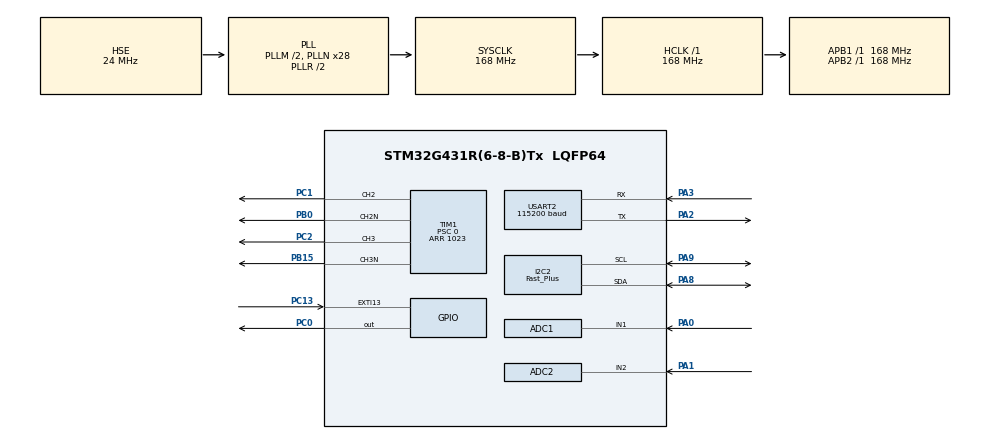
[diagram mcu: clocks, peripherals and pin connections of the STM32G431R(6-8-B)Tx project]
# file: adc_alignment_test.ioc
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ADC1.Channel-0\#ChannelRegularConversion=ADC_CHANNEL_1
ADC1.ClockPrescaler=ADC_CLOCK_SYNC_PCLK_DIV4
ADC1.ContinuousConvMode=DISABLE
ADC1.DMAContinuousRequests=ENABLE
ADC1.DataAlign=ADC_DATAALIGN_RIGHT
ADC1.DiscontinuousConvMode=DISABLE
ADC1.EOCSelection=ADC_EOC_SINGLE_CONV
ADC1.EnableAnalogWatchDog1=false
ADC1.EnableAnalogWatchDog2=false
ADC1.EnableAnalogWatchDog3=false
ADC1.EnableInjectedConversion=DISABLE
ADC1.EnableInjectedOversampling=DISABLE
ADC1.EnableRegularConversion=ENABLE
ADC1.ExternalTrigConv=ADC_EXTERNALTRIG_T1_TRGO
ADC1.ExternalTrigConvEdge=ADC_EXTERNALTRIGCONVEDGE_RISING
ADC1.GainCompensation=0
ADC1.LowPowerAutoWait=DISABLE
ADC1.Mode=ADC_MODE_INDEPENDENT
ADC1.NbrOfConversion=1
ADC1.OffsetNumber-0\#ChannelRegularConversion=ADC_OFFSET_NONE
ADC1.Overrun=ADC_OVR_DATA_PRESERVED
ADC1.OversamplingMode=DISABLE
ADC1.Rank-0\#ChannelRegularConversion=1
ADC1.Resolution=ADC_RESOLUTION_12B
ADC1.SamplingTime-0\#ChannelRegularConversion=ADC_SAMPLETIME_12CYCLES_5
ADC1.ScanConvMode=ADC_SCAN_DISABLE
ADC1.master=1
ADC2.Channel-0\#ChannelRegularConversion=ADC_CHANNEL_2
ADC2.DMAContinuousRequests=ENABLE
ADC2.ExternalTrigConv=ADC_EXTERNALTRIG_T1_TRGO
ADC2.NbrOfConversionFlag=1
ADC2.OffsetNumber-0\#ChannelRegularConversion=ADC_OFFSET_NONE
ADC2.Rank-0\#ChannelRegularConversion=1
ADC2.SamplingTime-0\#ChannelRegularConversion=ADC_SAMPLETIME_12CYCLES_5
Dma.ADC1.0.Direction=DMA_PERIPH_TO_MEMORY
Dma.ADC1.0.EventEnable=DISABLE
Dma.ADC1.0.Instance=DMA1_Channel2
Dma.ADC1.0.MemDataAlignment=DMA_MDATAALIGN_HALFWORD
Dma.ADC1.0.MemInc=DMA_MINC_ENABLE
Dma.ADC1.0.Mode=DMA_CIRCULAR
Dma.ADC1.0.PeriphDataAlignment=DMA_PDATAALIGN_HALFWORD
Dma.ADC1.0.PeriphInc=DMA_PINC_DISABLE
Dma.ADC1.0.Polarity=HAL_DMAMUX_REQ_GEN_RISING
Dma.ADC1.0.Priority=DMA_PRIORITY_LOW
Dma.ADC1.0.RequestNumber=1
Dma.ADC1.0.SignalID=NONE
Dma.ADC1.0.SyncEnable=DISABLE
Dma.ADC1.0.SyncPolarity=HAL_DMAMUX_SYNC_NO_EVENT
Dma.ADC1.0.SyncRequestNumber=1
Dma.ADC1.0.SyncSignalID=NONE
Dma.ADC2.1.Direction=DMA_PERIPH_TO_MEMORY
Dma.ADC2.1.EventEnable=DISABLE
Dma.ADC2.1.Instance=DMA1_Channel1
Dma.ADC2.1.MemDataAlignment=DMA_MDATAALIGN_HALFWORD
Dma.ADC2.1.MemInc=DMA_MINC_ENABLE
Dma.ADC2.1.Mode=DMA_CIRCULAR
Dma.ADC2.1.PeriphDataAlignment=DMA_PDATAALIGN_HALFWORD
Dma.ADC2.1.PeriphInc=DMA_PINC_DISABLE
Dma.ADC2.1.Polarity=HAL_DMAMUX_REQ_GEN_RISING
Dma.ADC2.1.Priority=DMA_PRIORITY_LOW
Dma.ADC2.1.RequestNumber=1
Dma.ADC2.1.SignalID=NONE
Dma.ADC2.1.SyncEnable=DISABLE
Dma.ADC2.1.SyncPolarity=HAL_DMAMUX_SYNC_NO_EVENT
Dma.ADC2.1.SyncRequestNumber=1
Dma.ADC2.1.SyncSignalID=NONE
Dma.Request0=ADC1
Dma.Request1=ADC2
I2C2.I2C_Speed_Mode=I2C_Fast_Plus
I2C2.Timing=0x10C31027
Mcu.Family=STM32G4
Mcu.Name=STM32G431R(6-8-B)Tx
Mcu.Package=LQFP64
NVIC.ADC1_2_IRQn=true\:0\:0\:false\:false\:true\:true\:true\:true
NVIC.DMA1_Channel1_IRQn=true\:0\:0\:false\:false\:true\:false\:true\:true
NVIC.DMA1_Channel2_IRQn=true\:0\:0\:false\:false\:true\:false\:true\:true
NVIC.EXTI15_10_IRQn=true\:0\:0\:false\:false\:true\:true\:true\:true
NVIC.PriorityGroup=NVIC_PRIORITYGROUP_4
PA0.Mode=IN1-Single-Ended
PA0.Signal=ADC1_IN1
PA1.Mode=IN2-Single-Ended
PA1.Signal=ADC2_IN2
PA13.GPIO_Label=T_SWDIO
PA13.Mode=Serial_Wire
PA13.Signal=SYS_JTMS-SWDIO
PA14.GPIO_Label=T_SWCLK
PA14.Mode=Serial_Wire
PA14.Signal=SYS_JTCK-SWCLK
PA2.Mode=Asynchronous
PA2.Signal=USART2_TX
PA3.Mode=Asynchronous
PA3.Signal=USART2_RX
PA8.Mode=I2C
PA8.Signal=I2C2_SDA
PA9.Mode=I2C
PA9.Signal=I2C2_SCL
PB0.Mode=PWM Generation2 CH2 CH2N
PB0.Signal=TIM1_CH2N
PB15.Mode=PWM Generation3 CH3 CH3N
PB15.Signal=TIM1_CH3N
PC0.Signal=GPIO_Output
PC1.Signal=S_TIM1_CH2
PC13.Signal=GPXTI13
PC2.Signal=S_TIM1_CH3
PF0-OSC_IN.GPIO_Label=RCC_OSC_IN
PF0-OSC_IN.Mode=HSE-External-Oscillator
PF0-OSC_IN.Signal=RCC_OSC_IN
PF1-OSC_OUT.GPIO_Label=RCC_OSC_OUT
PF1-OSC_OUT.Mode=HSE-External-Oscillator
PF1-OSC_OUT.Signal=RCC_OSC_OUT
ProjectManager.HeapSize=0x200
ProjectManager.StackSize=0x400
ProjectManager.TargetToolchain=CMake
RCC.ADC12Freq_Value=168000000
RCC.AHBFreq_Value=168000000
RCC.APB1Freq_Value=168000000
RCC.APB1TimFreq_Value=168000000
RCC.APB2Freq_Value=168000000
RCC.APB2TimFreq_Value=168000000
RCC.CortexFreq_Value=168000000
RCC.EXTERNAL_CLOCK_VALUE=12288000
RCC.FLatency=FLASH_LATENCY_4
RCC.HCLKFreq_Value=168000000
RCC.HSE_VALUE=24000000
RCC.HSI48_VALUE=48000000
RCC.HSI_VALUE=16000000
RCC.LSE_VALUE=32768
RCC.PLLM=RCC_PLLM_DIV2
RCC.PLLN=28
RCC.PLLSourceVirtual=RCC_PLLSOURCE_HSE
RCC.PWR_Regulator_Voltage_Scale=PWR_REGULATOR_VOLTAGE_SCALE1_BOOST
RCC.SYSCLKFreq_VALUE=168000000
RCC.SYSCLKSource=RCC_SYSCLKSOURCE_PLLCLK
RCC.USBFreq_Value=168000000
RCC.VCOOutputFreq_Value=336000000
SH.S_TIM1_CH2.0=TIM1_CH2,PWM Generation2 CH2 CH2N
SH.S_TIM1_CH3.0=TIM1_CH3,PWM Generation3 CH3 CH3N
TIM1.AsymmetricalDeadTime=DISABLE
TIM1.AutoReloadPreload=TIM_AUTORELOAD_PRELOAD_ENABLE
TIM1.AutomaticOutput=TIM_AUTOMATICOUTPUT_DISABLE
TIM1.Break2Filter=0
TIM1.Break2Polarity=TIM_BREAK2POLARITY_HIGH
TIM1.Break2State=TIM_BREAK2_DISABLE
TIM1.BreakFilter=0
TIM1.BreakPolarity=TIM_BREAKPOLARITY_HIGH
TIM1.BreakState=TIM_BREAK_DISABLE
TIM1.Channel-PWM\ Generation2\ CH2\ CH2N=TIM_CHANNEL_2
TIM1.Channel-PWM\ Generation3\ CH3\ CH3N=TIM_CHANNEL_3
TIM1.ClearInputSource=TIM_CLEARINPUTSOURCE_NONE
TIM1.ClockDivision=TIM_CLOCKDIVISION_DIV1
TIM1.CounterMode=TIM_COUNTERMODE_CENTERALIGNED1
TIM1.DeadTime=0
TIM1.DeadTimePreload=DISABLE
TIM1.Dithering=Disable
TIM1.LockLevel=TIM_LOCKLEVEL_OFF
TIM1.OC2Preload_PWM=ENABLE
TIM1.OC3Preload_PWM=ENABLE
TIM1.OCFastMode_PWM-PWM\ Generation2\ CH2\ CH2N=TIM_OCFAST_DISABLE
TIM1.OCFastMode_PWM-PWM\ Generation3\ CH3\ CH3N=TIM_OCFAST_DISABLE
TIM1.OCIdleState_2=TIM_OCIDLESTATE_RESET
TIM1.OCIdleState_3=TIM_OCIDLESTATE_RESET
TIM1.OCMode_PWM-PWM\ Generation2\ CH2\ CH2N=TIM_OCMODE_PWM1
TIM1.OCMode_PWM-PWM\ Generation3\ CH3\ CH3N=TIM_OCMODE_PWM1
TIM1.OCNIdleState_2=TIM_OCNIDLESTATE_RESET
TIM1.OCNIdleState_3=TIM_OCNIDLESTATE_RESET
TIM1.OCNPolarity_2=TIM_OCNPOLARITY_HIGH
TIM1.OCNPolarity_3=TIM_OCNPOLARITY_HIGH
TIM1.OCPolarity_2=TIM_OCPOLARITY_HIGH
TIM1.OCPolarity_3=TIM_OCPOLARITY_HIGH
TIM1.OffStateIDLEMode=TIM_OSSI_DISABLE
TIM1.OffStateRunMode=TIM_OSSR_DISABLE
TIM1.PeriodNoDither=1023
TIM1.Prescaler=0
TIM1.PulseNoDither_2=0
TIM1.PulseNoDither_3=0
TIM1.RepetitionCounter=15
TIM1.SourceBRK2COMP1=TIM_BREAKINPUTSOURCE_DISABLE
TIM1.SourceBRK2COMP2=TIM_BREAKINPUTSOURCE_DISABLE
TIM1.SourceBRK2COMP3=TIM_BREAKINPUTSOURCE_DISABLE
TIM1.SourceBRK2COMP4=TIM_BREAKINPUTSOURCE_DISABLE
TIM1.SourceBRK2DigInput=TIM_BREAKINPUTSOURCE_DISABLE
TIM1.SourceBRKCOMP1=TIM_BREAKINPUTSOURCE_DISABLE
TIM1.SourceBRKCOMP2=TIM_BREAKINPUTSOURCE_DISABLE
TIM1.SourceBRKCOMP3=TIM_BREAKINPUTSOURCE_DISABLE
TIM1.SourceBRKCOMP4=TIM_BREAKINPUTSOURCE_DISABLE
TIM1.SourceBRKDigInput=TIM_BREAKINPUTSOURCE_DISABLE
TIM1.TIM_MasterOutputTrigger=TIM_TRGO_UPDATE
TIM1.TIM_MasterOutputTrigger2=TIM_TRGO2_RESET
TIM1.TIM_MasterSlaveMode=TIM_MASTERSLAVEMODE_DISABLE
USART2.AutoBaudRateEnableParam=UART_ADVFEATURE_AUTOBAUDRATE_DISABLE
USART2.BaudRate=115200
USART2.ClockPrescaler=PRESCALER_DIV1
USART2.DMADisableonRxErrorParam=ADVFEATURE_DMA_ENABLEONRXERROR
USART2.DataInvertParam=ADVFEATURE_DATAINV_DISABLE
USART2.FIFOMode=FIFOMODE_DISABLE
USART2.MSBFirstParam=ADVFEATURE_MSBFIRST_DISABLE
USART2.Mode=MODE_TX_RX
USART2.OneBitSampling=UART_ONE_BIT_SAMPLE_DISABLE
USART2.OverSampling=UART_OVERSAMPLING_16
USART2.OverrunDisableParam=ADVFEATURE_OVERRUN_ENABLE
USART2.Parity=PARITY_NONE
USART2.RXFIFOThreshold=RXFIFO_THRESHOLD_1EIGHTHFULL
USART2.RxPinLevelInvertParam=ADVFEATURE_RXINV_DISABLE
USART2.StopBits=STOPBITS_1
USART2.SwapParam=ADVFEATURE_SWAP_DISABLE
USART2.TXFIFOThreshold=TXFIFO_THRESHOLD_1EIGHTHFULL
USART2.TxPinLevelInvertParam=ADVFEATURE_TXINV_DISABLE
USART2.VirtualMode-Asynchronous=VM_ASYNC
USART2.WordLength=WORDLENGTH_8B
VP_CORDIC_VS_CORDIC.Mode=CORDIC_Activate
VP_SYS_VS_DBSignals.Mode=DisableDeadBatterySignals
VP_TIM1_VS_ClockSourceINT.Mode=Internal
board=NUCLEO-G431RB

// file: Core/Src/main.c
/* USER CODE BEGIN Header */
/**
  ******************************************************************************
  * @file           : main.c
  * @brief          : Main program body
  ******************************************************************************
  * @attention
  *
  * Copyright (c) 2026 STMicroelectronics.
  * All rights reserved.
  *
  * This software is licensed under terms that can be found in the LICENSE file
  * in the root directory of this software component.
  * If no LICENSE file comes with this software, it is provided AS-IS.
  *
  ******************************************************************************
  */
/* USER CODE END Header */
#include "main.h"

/* USER CODE BEGIN Includes */
#include "stm32-cordic.h"
#include "stm32g4xx_hal.h"
#include "stm32g4xx_hal_adc.h"
#include "stm32g4xx_hal_gpio.h"
#include "stm32g4xx_hal_tim.h"
#include "stm32g4xx_hal_uart.h"
#include <stdint.h>
#include <stdbool.h>
#include <stdio.h>

#include "as5600.h"
/* USER CODE END Includes */

/* USER CODE BEGIN PD */
#define LOG_SIZE 1024
#define OUTPUT_BUFLEN 32
/* USER CODE END PD */

ADC_HandleTypeDef hadc1;
ADC_HandleTypeDef hadc2;
DMA_HandleTypeDef hdma_adc1;
DMA_HandleTypeDef hdma_adc2;

CORDIC_HandleTypeDef hcordic;

I2C_HandleTypeDef hi2c2;

TIM_HandleTypeDef htim1;

UART_HandleTypeDef huart2;

/* USER CODE BEGIN PV */
volatile bool test_triggered = false;
volatile bool next_step = false;
uint16_t adc_log_x[LOG_SIZE];
uint16_t adc_log_y[LOG_SIZE];
uint16_t duty_log_x[LOG_SIZE];
uint16_t duty_log_y[LOG_SIZE];
int16_t sin_log[LOG_SIZE];
int16_t cos_log[LOG_SIZE];
int16_t theta_log[LOG_SIZE];

uint8_t output_buffer[OUTPUT_BUFLEN];
int output_length;
/* USER CODE END PV */

void SystemClock_Config(void);
static void MX_GPIO_Init(void);
static void MX_DMA_Init(void);
static void MX_USART2_UART_Init(void);
static void MX_CORDIC_Init(void);
static void MX_TIM1_Init(void);
static void MX_ADC1_Init(void);
static void MX_ADC2_Init(void);
static void MX_I2C2_Init(void);

int main(void)
{

  /* MCU Configuration--------------------------------------------------------*/

  /* Reset of all peripherals, Initializes the Flash interface and the Systick. */
  HAL_Init();

  /* Configure the system clock */
  SystemClock_Config();

  /* Initialize all configured peripherals */
  MX_GPIO_Init();
  MX_DMA_Init();
  MX_USART2_UART_Init();
  MX_CORDIC_Init();
  MX_TIM1_Init();
  MX_ADC1_Init();
  MX_ADC2_Init();
  MX_I2C2_Init();
  /* USER CODE BEGIN 2 */
  HAL_ADCEx_Calibration_Start(&hadc1, ADC_SINGLE_ENDED);
  HAL_ADCEx_Calibration_Start(&hadc2, ADC_SINGLE_ENDED);
  /* USER CODE END 2 */

  /* Infinite loop */
  /* USER CODE BEGIN WHILE */
  while (1)
  {
    HAL_GPIO_WritePin(GPIOC, GPIO_PIN_0, GPIO_PIN_RESET);
    /* USER CODE END WHILE */

    /* USER CODE BEGIN 3 */
    if(test_triggered) {
      // output_length = snprintf((char*)output_buffer, OUTPUT_BUFLEN, "TEST TRIGGERED\r\n");
      // HAL_UART_Transmit(&huart2, output_buffer, output_length, 100);
      TIM1->CNT = 0;
      TIM1->BDTR &= ~(TIM_BDTR_DTG);

      // Start ADC and DMA
      uint32_t dma_dest[2];
      HAL_ADC_Start_DMA(&hadc1, &dma_dest[0], 1);
      __HAL_ADC_ENABLE_IT(&hadc1, ADC_IT_EOC);
      HAL_ADC_Start_DMA(&hadc2, &dma_dest[1], 1);
      __HAL_ADC_ENABLE_IT(&hadc2, ADC_IT_EOC);

      // Start TIMER
      __HAL_TIM_CLEAR_FLAG(&htim1, TIM_FLAG_UPDATE);
      HAL_TIM_PWM_Start(&htim1, TIM_CHANNEL_2);
      HAL_TIMEx_PWMN_Start(&htim1, TIM_CHANNEL_2);
      // __HAL_TIM_SET_COMPARE(&htim1, TIM_CHANNEL_2, 512);
      HAL_TIM_PWM_Start(&htim1, TIM_CHANNEL_3);
      HAL_TIMEx_PWMN_Start(&htim1, TIM_CHANNEL_3);
      // __HAL_TIM_SET_COMPARE(&htim1, TIM_CHANNEL_3, 512);

      HAL_GPIO_WritePin(GPIOC, GPIO_PIN_0, GPIO_PIN_SET);

      int32_t theta_q31 = 0x80000000;
      int32_t sine_q31 = 0, cosine_q31 = 0;
      int32_t cordic_results[2];
      uint16_t pwm_level_x = 0, pwm_level_y = 0;
      for(int i = 0 ; i < 1024; i++) {
        while(!next_step);    // spin and wait for adc conversion
        next_step = false;    // clear flag
        // HAL_GPIO_TogglePin(GPIOC, GPIO_PIN_0);

        // save previous pwm duty
        adc_log_x[i] = dma_dest[0] & 0x0fff;
        adc_log_y[i] = dma_dest[1] & 0x0fff;
        duty_log_x[i] = TIM1->CCR2;
        duty_log_y[i] = TIM1->CCR3;
        cos_log[i] = cosine_q31 >> 16;
        sin_log[i] = sine_q31 >> 16;
        theta_log[i] = theta_q31 >> 16;

        // update pwm duty cycle
        cordic_q31_cos_sin(theta_q31, cordic_results);
        cosine_q31 = cordic_results[0];
        sine_q31 = cordic_results[1];
        pwm_level_x = (cosine_q31 >> 23) + 512;
        pwm_level_y = (sine_q31 >> 23) + 512;
        __HAL_TIM_SET_COMPARE(&htim1, TIM_CHANNEL_2, pwm_level_x);
        __HAL_TIM_SET_COMPARE(&htim1, TIM_CHANNEL_3, pwm_level_y);
        HAL_GPIO_TogglePin(GPIOC, GPIO_PIN_0);

        theta_q31 += 0x400000;
      }

      HAL_ADC_Stop_DMA(&hadc1);
      __HAL_ADC_DISABLE_IT(&hadc1, ADC_IT_EOC);
      HAL_ADC_Stop_DMA(&hadc2);
      __HAL_ADC_DISABLE_IT(&hadc2, ADC_IT_EOC);
      HAL_TIM_PWM_Stop(&htim1, TIM_CHANNEL_2);
      HAL_TIMEx_PWMN_Stop(&htim1, TIM_CHANNEL_2);
      HAL_TIM_PWM_Stop(&htim1, TIM_CHANNEL_3);
      HAL_TIMEx_PWMN_Stop(&htim1, TIM_CHANNEL_3);

      for(int i = 0; i < 1024; i++) {
        output_length = snprintf((char*)output_buffer, OUTPUT_BUFLEN, "%d %d\r\n", adc_log_x[i], adc_log_y[i]);
        HAL_UART_Transmit(&huart2, output_buffer, output_length, 100);
      }

      test_triggered = false;   // clear flag
      // HAL_TIM_Base_Stop_IT(&htim1);
    }
  }
  /* USER CODE END 3 */
}

void SystemClock_Config(void)
{
  RCC_OscInitTypeDef RCC_OscInitStruct = {0};
  RCC_ClkInitTypeDef RCC_ClkInitStruct = {0};

  /** Configure the main internal regulator output voltage
  */
  HAL_PWREx_ControlVoltageScaling(PWR_REGULATOR_VOLTAGE_SCALE1_BOOST);

  /** Initializes the RCC Oscillators according to the specified parameters
  * in the RCC_OscInitTypeDef structure.
  */
  RCC_OscInitStruct.OscillatorType = RCC_OSCILLATORTYPE_HSE;
  RCC_OscInitStruct.HSEState = RCC_HSE_ON;
  RCC_OscInitStruct.PLL.PLLState = RCC_PLL_ON;
  RCC_OscInitStruct.PLL.PLLSource = RCC_PLLSOURCE_HSE;
  RCC_OscInitStruct.PLL.PLLM = RCC_PLLM_DIV2;
  RCC_OscInitStruct.PLL.PLLN = 28;
  RCC_OscInitStruct.PLL.PLLP = RCC_PLLP_DIV2;
  RCC_OscInitStruct.PLL.PLLQ = RCC_PLLQ_DIV2;
  RCC_OscInitStruct.PLL.PLLR = RCC_PLLR_DIV2;
  if (HAL_RCC_OscConfig(&RCC_OscInitStruct) != HAL_OK)
  {
    Error_Handler();
  }

  /** Initializes the CPU, AHB and APB buses clocks
  */
  RCC_ClkInitStruct.ClockType = RCC_CLOCKTYPE_HCLK|RCC_CLOCKTYPE_SYSCLK
                              |RCC_CLOCKTYPE_PCLK1|RCC_CLOCKTYPE_PCLK2;
  RCC_ClkInitStruct.SYSCLKSource = RCC_SYSCLKSOURCE_PLLCLK;
  RCC_ClkInitStruct.AHBCLKDivider = RCC_SYSCLK_DIV1;
  RCC_ClkInitStruct.APB1CLKDivider = RCC_HCLK_DIV1;
  RCC_ClkInitStruct.APB2CLKDivider = RCC_HCLK_DIV1;

  if (HAL_RCC_ClockConfig(&RCC_ClkInitStruct, FLASH_LATENCY_4) != HAL_OK)
  {
    Error_Handler();
  }
}

static void MX_ADC1_Init(void)
{

  ADC_MultiModeTypeDef multimode = {0};
  ADC_ChannelConfTypeDef sConfig = {0};

  /** Common config
  */
  hadc1.Instance = ADC1;
  hadc1.Init.ClockPrescaler = ADC_CLOCK_SYNC_PCLK_DIV4;
  hadc1.Init.Resolution = ADC_RESOLUTION_12B;
  hadc1.Init.DataAlign = ADC_DATAALIGN_RIGHT;
  hadc1.Init.GainCompensation = 0;
  hadc1.Init.ScanConvMode = ADC_SCAN_DISABLE;
  hadc1.Init.EOCSelection = ADC_EOC_SINGLE_CONV;
  hadc1.Init.LowPowerAutoWait = DISABLE;
  hadc1.Init.ContinuousConvMode = DISABLE;
  hadc1.Init.NbrOfConversion = 1;
  hadc1.Init.DiscontinuousConvMode = DISABLE;
  hadc1.Init.ExternalTrigConv = ADC_EXTERNALTRIG_T1_TRGO;
  hadc1.Init.ExternalTrigConvEdge = ADC_EXTERNALTRIGCONVEDGE_RISING;
  hadc1.Init.DMAContinuousRequests = ENABLE;
  hadc1.Init.Overrun = ADC_OVR_DATA_PRESERVED;
  hadc1.Init.OversamplingMode = DISABLE;
  if (HAL_ADC_Init(&hadc1) != HAL_OK)
  {
    Error_Handler();
  }

  /** Configure the ADC multi-mode
  */
  multimode.Mode = ADC_MODE_INDEPENDENT;
  if (HAL_ADCEx_MultiModeConfigChannel(&hadc1, &multimode) != HAL_OK)
  {
    Error_Handler();
  }

  /** Configure Regular Channel
  */
  sConfig.Channel = ADC_CHANNEL_1;
  sConfig.Rank = ADC_REGULAR_RANK_1;
  sConfig.SamplingTime = ADC_SAMPLETIME_12CYCLES_5;
  sConfig.SingleDiff = ADC_SINGLE_ENDED;
  sConfig.OffsetNumber = ADC_OFFSET_NONE;
  sConfig.Offset = 0;
  if (HAL_ADC_ConfigChannel(&hadc1, &sConfig) != HAL_OK)
  {
    Error_Handler();
  }

}

static void MX_ADC2_Init(void)
{

  ADC_ChannelConfTypeDef sConfig = {0};

  /** Common config
  */
  hadc2.Instance = ADC2;
  hadc2.Init.ClockPrescaler = ADC_CLOCK_SYNC_PCLK_DIV4;
  hadc2.Init.Resolution = ADC_RESOLUTION_12B;
  hadc2.Init.DataAlign = ADC_DATAALIGN_RIGHT;
  hadc2.Init.GainCompensation = 0;
  hadc2.Init.ScanConvMode = ADC_SCAN_DISABLE;
  hadc2.Init.EOCSelection = ADC_EOC_SINGLE_CONV;
  hadc2.Init.LowPowerAutoWait = DISABLE;
  hadc2.Init.ContinuousConvMode = DISABLE;
  hadc2.Init.NbrOfConversion = 1;
  hadc2.Init.DiscontinuousConvMode = DISABLE;
  hadc2.Init.ExternalTrigConv = ADC_EXTERNALTRIG_T1_TRGO;
  hadc2.Init.ExternalTrigConvEdge = ADC_EXTERNALTRIGCONVEDGE_RISING;
  hadc2.Init.DMAContinuousRequests = ENABLE;
  hadc2.Init.Overrun = ADC_OVR_DATA_PRESERVED;
  hadc2.Init.OversamplingMode = DISABLE;
  if (HAL_ADC_Init(&hadc2) != HAL_OK)
  {
    Error_Handler();
  }

  /** Configure Regular Channel
  */
  sConfig.Channel = ADC_CHANNEL_2;
  sConfig.Rank = ADC_REGULAR_RANK_1;
  sConfig.SamplingTime = ADC_SAMPLETIME_12CYCLES_5;
  sConfig.SingleDiff = ADC_SINGLE_ENDED;
  sConfig.OffsetNumber = ADC_OFFSET_NONE;
  sConfig.Offset = 0;
  if (HAL_ADC_ConfigChannel(&hadc2, &sConfig) != HAL_OK)
  {
    Error_Handler();
  }

}

static void MX_CORDIC_Init(void)
{

  hcordic.Instance = CORDIC;
  if (HAL_CORDIC_Init(&hcordic) != HAL_OK)
  {
    Error_Handler();
  }

}

static void MX_I2C2_Init(void)
{

  hi2c2.Instance = I2C2;
  hi2c2.Init.Timing = 0x10C31027;
  hi2c2.Init.OwnAddress1 = 0;
  hi2c2.Init.AddressingMode = I2C_ADDRESSINGMODE_7BIT;
  hi2c2.Init.DualAddressMode = I2C_DUALADDRESS_DISABLE;
  hi2c2.Init.OwnAddress2 = 0;
  hi2c2.Init.OwnAddress2Masks = I2C_OA2_NOMASK;
  hi2c2.Init.GeneralCallMode = I2C_GENERALCALL_DISABLE;
  hi2c2.Init.NoStretchMode = I2C_NOSTRETCH_DISABLE;
  if (HAL_I2C_Init(&hi2c2) != HAL_OK)
  {
    Error_Handler();
  }

  /** Configure Analogue filter
  */
  if (HAL_I2CEx_ConfigAnalogFilter(&hi2c2, I2C_ANALOGFILTER_ENABLE) != HAL_OK)
  {
    Error_Handler();
  }

  /** Configure Digital filter
  */
  if (HAL_I2CEx_ConfigDigitalFilter(&hi2c2, 0) != HAL_OK)
  {
    Error_Handler();
  }

  /** I2C Fast mode Plus enable
  */
  HAL_I2CEx_EnableFastModePlus(I2C_FASTMODEPLUS_I2C2);

}

static void MX_TIM1_Init(void)
{

  TIM_ClockConfigTypeDef sClockSourceConfig = {0};
  TIM_MasterConfigTypeDef sMasterConfig = {0};
  TIM_OC_InitTypeDef sConfigOC = {0};
  TIM_BreakDeadTimeConfigTypeDef sBreakDeadTimeConfig = {0};

  htim1.Instance = TIM1;
  htim1.Init.Prescaler = 0;
  htim1.Init.CounterMode = TIM_COUNTERMODE_CENTERALIGNED1;
  htim1.Init.Period = 1023;
  htim1.Init.ClockDivision = TIM_CLOCKDIVISION_DIV1;
  htim1.Init.RepetitionCounter = 15;
  htim1.Init.AutoReloadPreload = TIM_AUTORELOAD_PRELOAD_ENABLE;
  if (HAL_TIM_Base_Init(&htim1) != HAL_OK)
  {
    Error_Handler();
  }
  sClockSourceConfig.ClockSource = TIM_CLOCKSOURCE_INTERNAL;
  if (HAL_TIM_ConfigClockSource(&htim1, &sClockSourceConfig) != HAL_OK)
  {
    Error_Handler();
  }
  if (HAL_TIM_PWM_Init(&htim1) != HAL_OK)
  {
    Error_Handler();
  }
  sMasterConfig.MasterOutputTrigger = TIM_TRGO_UPDATE;
  sMasterConfig.MasterOutputTrigger2 = TIM_TRGO2_RESET;
  sMasterConfig.MasterSlaveMode = TIM_MASTERSLAVEMODE_DISABLE;
  if (HAL_TIMEx_MasterConfigSynchronization(&htim1, &sMasterConfig) != HAL_OK)
  {
    Error_Handler();
  }
  sConfigOC.OCMode = TIM_OCMODE_PWM1;
  sConfigOC.Pulse = 0;
  sConfigOC.OCPolarity = TIM_OCPOLARITY_HIGH;
  sConfigOC.OCNPolarity = TIM_OCNPOLARITY_HIGH;
  sConfigOC.OCFastMode = TIM_OCFAST_DISABLE;
  sConfigOC.OCIdleState = TIM_OCIDLESTATE_RESET;
  sConfigOC.OCNIdleState = TIM_OCNIDLESTATE_RESET;
  if (HAL_TIM_PWM_ConfigChannel(&htim1, &sConfigOC, TIM_CHANNEL_2) != HAL_OK)
  {
    Error_Handler();
  }
  if (HAL_TIM_PWM_ConfigChannel(&htim1, &sConfigOC, TIM_CHANNEL_3) != HAL_OK)
  {
    Error_Handler();
  }
  sBreakDeadTimeConfig.OffStateRunMode = TIM_OSSR_DISABLE;
  sBreakDeadTimeConfig.OffStateIDLEMode = TIM_OSSI_DISABLE;
  sBreakDeadTimeConfig.LockLevel = TIM_LOCKLEVEL_OFF;
  sBreakDeadTimeConfig.DeadTime = 0;
  sBreakDeadTimeConfig.BreakState = TIM_BREAK_DISABLE;
  sBreakDeadTimeConfig.BreakPolarity = TIM_BREAKPOLARITY_HIGH;
  sBreakDeadTimeConfig.BreakFilter = 0;
  sBreakDeadTimeConfig.BreakAFMode = TIM_BREAK_AFMODE_INPUT;
  sBreakDeadTimeConfig.Break2State = TIM_BREAK2_DISABLE;
  sBreakDeadTimeConfig.Break2Polarity = TIM_BREAK2POLARITY_HIGH;
  sBreakDeadTimeConfig.Break2Filter = 0;
  sBreakDeadTimeConfig.Break2AFMode = TIM_BREAK_AFMODE_INPUT;
  sBreakDeadTimeConfig.AutomaticOutput = TIM_AUTOMATICOUTPUT_DISABLE;
  if (HAL_TIMEx_ConfigBreakDeadTime(&htim1, &sBreakDeadTimeConfig) != HAL_OK)
  {
    Error_Handler();
  }
  HAL_TIM_MspPostInit(&htim1);

}

static void MX_USART2_UART_Init(void)
{

  huart2.Instance = USART2;
  huart2.Init.BaudRate = 115200;
  huart2.Init.WordLength = UART_WORDLENGTH_8B;
  huart2.Init.StopBits = UART_STOPBITS_1;
  huart2.Init.Parity = UART_PARITY_NONE;
  huart2.Init.Mode = UART_MODE_TX_RX;
  huart2.Init.HwFlowCtl = UART_HWCONTROL_NONE;
  huart2.Init.OverSampling = UART_OVERSAMPLING_16;
  huart2.Init.OneBitSampling = UART_ONE_BIT_SAMPLE_DISABLE;
  huart2.Init.ClockPrescaler = UART_PRESCALER_DIV1;
  huart2.AdvancedInit.AdvFeatureInit = UART_ADVFEATURE_NO_INIT;
  if (HAL_UART_Init(&huart2) != HAL_OK)
  {
    Error_Handler();
  }
  if (HAL_UARTEx_SetTxFifoThreshold(&huart2, UART_TXFIFO_THRESHOLD_1_8) != HAL_OK)
  {
    Error_Handler();
  }
  if (HAL_UARTEx_SetRxFifoThreshold(&huart2, UART_RXFIFO_THRESHOLD_1_8) != HAL_OK)
  {
    Error_Handler();
  }
  if (HAL_UARTEx_DisableFifoMode(&huart2) != HAL_OK)
  {
    Error_Handler();
  }

}

static void MX_DMA_Init(void)
{

  /* DMA controller clock enable */
  __HAL_RCC_DMAMUX1_CLK_ENABLE();
  __HAL_RCC_DMA1_CLK_ENABLE();

  /* DMA interrupt init */
  /* DMA1_Channel1_IRQn interrupt configuration */
  HAL_NVIC_SetPriority(DMA1_Channel1_IRQn, 0, 0);
  HAL_NVIC_EnableIRQ(DMA1_Channel1_IRQn);
  /* DMA1_Channel2_IRQn interrupt configuration */
  HAL_NVIC_SetPriority(DMA1_Channel2_IRQn, 0, 0);
  HAL_NVIC_EnableIRQ(DMA1_Channel2_IRQn);

}

static void MX_GPIO_Init(void)
{
  GPIO_InitTypeDef GPIO_InitStruct = {0};

  /* GPIO Ports Clock Enable */
  __HAL_RCC_GPIOC_CLK_ENABLE();
  __HAL_RCC_GPIOF_CLK_ENABLE();
  __HAL_RCC_GPIOA_CLK_ENABLE();
  __HAL_RCC_GPIOB_CLK_ENABLE();

  /*Configure GPIO pin Output Level */
  HAL_GPIO_WritePin(GPIOC, GPIO_PIN_0, GPIO_PIN_RESET);

  /*Configure GPIO pin : PC13 */
  GPIO_InitStruct.Pin = GPIO_PIN_13;
  GPIO_InitStruct.Mode = GPIO_MODE_IT_RISING;
  GPIO_InitStruct.Pull = GPIO_NOPULL;
  HAL_GPIO_Init(GPIOC, &GPIO_InitStruct);

  /*Configure GPIO pin : PC0 */
  GPIO_InitStruct.Pin = GPIO_PIN_0;
  GPIO_InitStruct.Mode = GPIO_MODE_OUTPUT_PP;
  GPIO_InitStruct.Pull = GPIO_NOPULL;
  GPIO_InitStruct.Speed = GPIO_SPEED_FREQ_LOW;
  HAL_GPIO_Init(GPIOC, &GPIO_InitStruct);

  /* EXTI interrupt init*/
  HAL_NVIC_SetPriority(EXTI15_10_IRQn, 0, 0);
  HAL_NVIC_EnableIRQ(EXTI15_10_IRQn);

}

/* USER CODE BEGIN 4 */
void HAL_GPIO_EXTI_Callback(uint16_t GPIO_Pin) {
  if(GPIO_Pin == GPIO_PIN_13) {
    test_triggered = true;
  }
}

void HAL_ADC_ConvCpltCallback(ADC_HandleTypeDef* hadc) {
  if(hadc->Instance == ADC1) {
    next_step = true;
    // HAL_GPIO_TogglePin(GPIOC, GPIO_PIN_0);
    HAL_GPIO_WritePin(GPIOC, GPIO_PIN_0, 1);
  }
}

void HAL_TIM_PeriodElapsedCallback(TIM_HandleTypeDef *htim) {
  if(htim1.Instance == TIM1) {
    // HAL_GPIO_TogglePin(GPIOC, GPIO_PIN_0);
  }
}
/* USER CODE END 4 */

void Error_Handler(void)
{
  __disable_irq();
  while (1)
  {
  }
}
